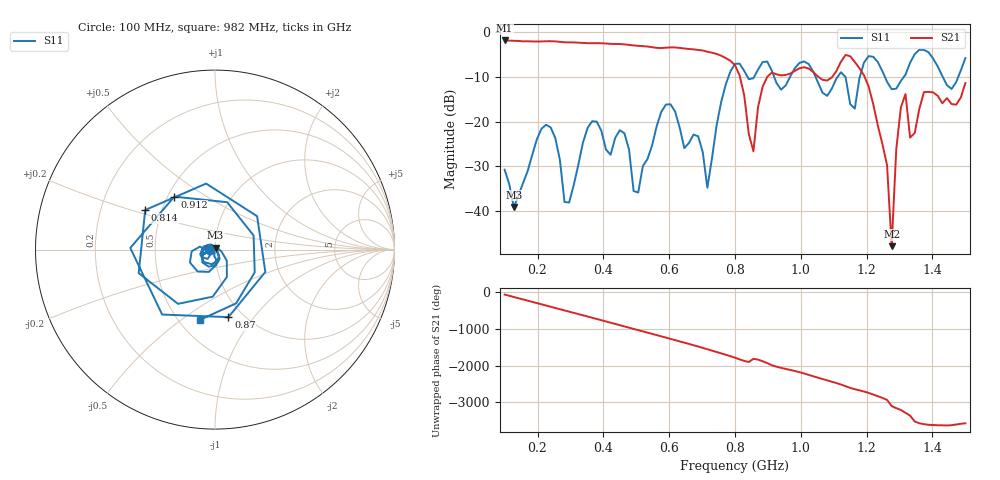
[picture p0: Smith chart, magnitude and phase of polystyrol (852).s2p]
! NanoVNA-App
! Date: 2025-09-25 15:36:31
! Start: 100MHz Stop: 1,5GHz Points: 101
! S-Parameter data: F S11 S21 S12 S22
# Hz S RI R 50
!  Frequency  S11_Real  S11_Imag  S21_Real  S21_Imag  S12_Real  S12_Imag  S22_Real  S22_Imag
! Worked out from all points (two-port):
!   101 points, 100 MHz to 1.5 GHz, reference 50 ohm
!   highest |S21| = -1.80 dB at 100 MHz (marker M1); lowest = -47.8 dB at 1.276 GHz (marker M2)
!   |S21| within 3 dB of the highest: start of sweep to 743.1 MHz
!   lowest |S11| = -39.1 dB at 128 MHz (marker M3), VSWR 1.02, Z = 50.3 + j1.06 ohm
!   |S11| at or under -10 dB: start of sweep to 779.8 MHz; 1.045 GHz to 1.111 GHz (66.14 MHz wide, 6.13 % of centre); 1.136 GHz to 1.179 GHz (43.24 MHz wide, 3.74 % of centre) (the widest 3 of 7)
!   S12 and S22 are empty: the file has one direction only
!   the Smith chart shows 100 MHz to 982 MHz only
!   S11 on the Smith chart (normalised r, x): 100 MHz: 0.94, -0.01; 814 MHz: 0.40, +0.22; 870 MHz: 0.85, -0.75; 912 MHz: 0.54, +0.37; 982 MHz: 0.63, -0.59
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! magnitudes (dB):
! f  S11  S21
! 100 MHz  -30.7  -1.8
! 128 MHz  -39.1  -1.9
! 212 MHz  -21.6  -2.0
! 282 MHz  -38.0  -2.2
! 338 MHz  -24.7  -2.3
! 464 MHz  -22.6  -2.7
! 506 MHz  -35.8  -3.0
! 576 MHz  -17.8  -3.5
! 716 MHz  -34.8  -4.3
! 800 MHz  -7.0  -7.4
! 814 MHz  -7.0  -9.6
! 856 MHz  -10.3  -26.6
! 870 MHz  -8.3  -16.7
! 912 MHz  -8.6  -9.0
! 982 MHz  -8.0  -8.6
! 1.038 GHz  -8.8  -8.9
! 1.192 GHz  -6.7  -9.6
! 1.262 GHz  -11.1  -29.7
! 1.276 GHz  -12.7  -47.8
! 1.29 GHz  -12.6  -26.1
! 1.318 GHz  -9.5  -13.8
! 1.5 GHz  -5.7  -11.3
